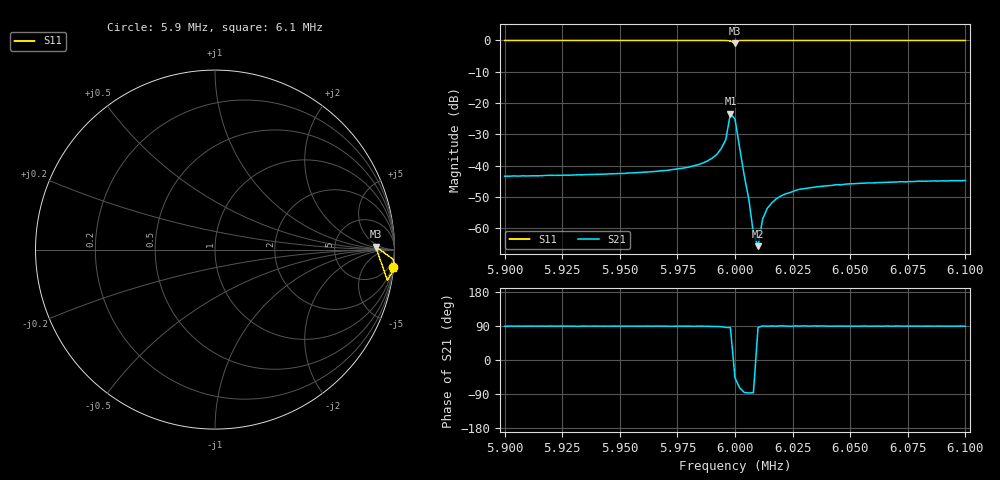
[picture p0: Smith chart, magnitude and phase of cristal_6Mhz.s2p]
# HZ S RI R 50
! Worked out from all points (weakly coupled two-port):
!   101 points, 5.9 MHz to 6.1 MHz, reference 50 ohm
!   highest |S21| = -23.43 dB at 5.998 MHz (marker M1); lowest = -65.8 dB at 6.01 MHz (marker M2)
!   lowest |S11| = -1.0 dB at 6 MHz (marker M3), VSWR 18.09, Z = 881 + j144 ohm
!   |S11| at or under -10 dB: nowhere
!   S12 and S22 are empty: the file has one direction only
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5900000  0.9944 -0.0984  0.000112 0.00674  0 0  0 0
5934000  0.994 -0.0992  5.84e-05 0.00711  0 0  0 0
5968000  0.9938 -0.1009  9.9e-05 0.00824  0 0  0 0
5984000  0.9934 -0.1034  0.000122 0.0103  0 0  0 0
5988000  0.9933 -0.1052  0.0002 0.0118  0 0  0 0
5992000  0.993 -0.1086  0.000392 0.0149  0 0  0 0
5994000  0.9916 -0.1123  0.00065 0.0186  0 0  0 0
5996000  0.9905 -0.1195  0.00186 0.0259  0 0  0 0
5998000  0.9604 -0.1712  0.00525 0.0671  0 0  0 0
6000000  0.8951 0.0162  0.0376 -0.0404  0 0  0 0
6002000  0.995 -0.0556  0.0055 -0.0185  0 0  0 0
6004000  0.9955 -0.0836  0.000557 -0.00692  0 0  0 0
6006000  0.9946 -0.0888  0.000146 -0.00289  0 0  0 0
6008000  0.9948 -0.0912  5.67e-05 -0.000809  0 0  0 0
6010000  0.9944 -0.0929  3.79e-05 0.000512  0 0  0 0
6012000  0.9945 -0.0938  2.25e-06 0.0014  0 0  0 0
6014000  0.9944 -0.0947  3.1e-05 0.00207  0 0  0 0
6016000  0.9943 -0.0951  1.19e-05 0.00252  0 0  0 0
6022000  0.9943 -0.0964  2.8e-05 0.00353  0 0  0 0
6034000  0.994 -0.0976  1.91e-05 0.00448  0 0  0 0
6068000  0.9939 -0.0993  8.2e-05 0.00542  0 0  0 0
6100000  0.9937 -0.1001  8.88e-05 0.00577  0 0  0 0
